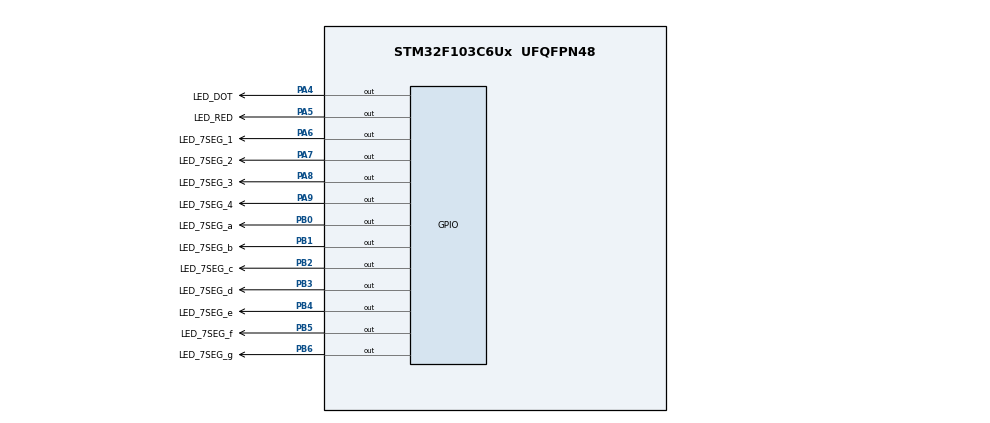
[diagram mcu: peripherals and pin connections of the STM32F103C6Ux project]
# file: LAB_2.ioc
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Mcu.Family=STM32F1
Mcu.Name=STM32F103C6Ux
Mcu.Package=UFQFPN48
NVIC.PriorityGroup=NVIC_PRIORITYGROUP_4
NVIC.TIM2_IRQn=true\:0\:0\:false\:false\:true\:true\:true
PA4.GPIO_Label=LED_DOT
PA4.Signal=GPIO_Output
PA5.GPIO_Label=LED_RED
PA5.Signal=GPIO_Output
PA6.GPIO_Label=LED_7SEG_1
PA6.Signal=GPIO_Output
PA7.GPIO_Label=LED_7SEG_2
PA7.Signal=GPIO_Output
PA8.GPIO_Label=LED_7SEG_3
PA8.Signal=GPIO_Output
PA9.GPIO_Label=LED_7SEG_4
PA9.Signal=GPIO_Output
PB0.GPIO_Label=LED_7SEG_a
PB0.Signal=GPIO_Output
PB1.GPIO_Label=LED_7SEG_b
PB1.Signal=GPIO_Output
PB2.GPIO_Label=LED_7SEG_c
PB2.Signal=GPIO_Output
PB3.GPIO_Label=LED_7SEG_d
PB3.Signal=GPIO_Output
PB4.GPIO_Label=LED_7SEG_e
PB4.Signal=GPIO_Output
PB5.GPIO_Label=LED_7SEG_f
PB5.Signal=GPIO_Output
PB6.GPIO_Label=LED_7SEG_g
PB6.Signal=GPIO_Output
ProjectManager.HeapSize=0x200
ProjectManager.StackSize=0x400
ProjectManager.TargetToolchain=STM32CubeIDE
RCC.APB1Freq_Value=8000000
RCC.APB2Freq_Value=8000000
TIM2.Period=9
TIM2.Prescaler=7999
VP_SYS_VS_ND.Mode=No_Debug
VP_TIM2_VS_ClockSourceINT.Mode=Internal
board=custom

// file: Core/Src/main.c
/* USER CODE BEGIN Header */
/**
  ******************************************************************************
  * @file           : main.c
  * @brief          : Main program body
  ******************************************************************************
  * @attention
  *
  * <h2><center>&copy; Copyright (c) 2025 STMicroelectronics.
  * All rights reserved.</center></h2>
  *
  * This software component is licensed by ST under BSD 3-Clause license,
  * the "License"; You may not use this file except in compliance with the
  * License. You may obtain a copy of the License at:
  *                        opensource.org/licenses/BSD-3-Clause
  *
  ******************************************************************************
  */
/* USER CODE END Header */
#include "main.h"

/* USER CODE BEGIN Includes */
#include "software_timer.h"
/* USER CODE END Includes */

TIM_HandleTypeDef htim2;

/* USER CODE BEGIN PV */
int hour = 15, minute = 8, second = 55;
/* USER CODE END PV */

void SystemClock_Config(void);
static void MX_TIM2_Init(void);
static void MX_GPIO_Init(void);

int main(void)
{

  /* MCU Configuration--------------------------------------------------------*/

  /* Reset of all peripherals, Initializes the Flash interface and the Systick. */
  HAL_Init();

  /* Configure the system clock */
  SystemClock_Config();

  /* Initialize all configured peripherals */
  MX_TIM2_Init();
  MX_GPIO_Init();
  /* USER CODE BEGIN 2 */
  HAL_TIM_Base_Start_IT(&htim2);
  HAL_GPIO_WritePin(LED_7SEG_1_GPIO_Port, LED_7SEG_1_Pin, SET);
  HAL_GPIO_WritePin(LED_7SEG_2_GPIO_Port, LED_7SEG_2_Pin, SET);
  HAL_GPIO_WritePin(LED_7SEG_3_GPIO_Port, LED_7SEG_3_Pin, SET);
  HAL_GPIO_WritePin(LED_7SEG_4_GPIO_Port, LED_7SEG_4_Pin, SET);

  /* USER CODE END 2 */

  /* Infinite loop */
  /* USER CODE BEGIN WHILE */
  setTimer0(100);//toggle led per second
  setTimer1(100);//toggle dot per second
  setTimer2(10);//digital clock set timer
  while (1)
  {
	  //toggle led red per second
	  if(timer0_flag == 1)
	  {
		  setTimer0(100);
		  HAL_GPIO_TogglePin(LED_RED_GPIO_Port, LED_RED_Pin);
	  }
	  //toggle dot per second
	  if(timer1_flag == 1)
	  {
		  setTimer1(100);
		  HAL_GPIO_TogglePin(LED_DOT_GPIO_Port, LED_DOT_Pin);
	  }
	  //digital clock, update h, m, s
	  if(timer2_flag == 1)
	  {
		  setTimer2(100);
		  second++;
		  if(second >= 60)
		  {
			  second = 0;
			  minute++;
		  }
		  if(minute >= 60)
		  {
			  minute = 0;
			  hour++;
		  }
		  if(hour >= 24)
		  {
			  hour = 0;
		  }
		  updateClockBuffer();
	  }

    /* USER CODE END WHILE */

  }
}

void SystemClock_Config(void)
{
  RCC_OscInitTypeDef RCC_OscInitStruct = {0};
  RCC_ClkInitTypeDef RCC_ClkInitStruct = {0};

  /** Initializes the RCC Oscillators according to the specified parameters
  * in the RCC_OscInitTypeDef structure.
  */
  RCC_OscInitStruct.OscillatorType = RCC_OSCILLATORTYPE_HSI;
  RCC_OscInitStruct.HSIState = RCC_HSI_ON;
  RCC_OscInitStruct.HSICalibrationValue = RCC_HSICALIBRATION_DEFAULT;
  RCC_OscInitStruct.PLL.PLLState = RCC_PLL_NONE;
  if (HAL_RCC_OscConfig(&RCC_OscInitStruct) != HAL_OK)
  {
    Error_Handler();
  }
  /** Initializes the CPU, AHB and APB buses clocks
  */
  RCC_ClkInitStruct.ClockType = RCC_CLOCKTYPE_HCLK|RCC_CLOCKTYPE_SYSCLK
                              |RCC_CLOCKTYPE_PCLK1|RCC_CLOCKTYPE_PCLK2;
  RCC_ClkInitStruct.SYSCLKSource = RCC_SYSCLKSOURCE_HSI;
  RCC_ClkInitStruct.AHBCLKDivider = RCC_SYSCLK_DIV1;
  RCC_ClkInitStruct.APB1CLKDivider = RCC_HCLK_DIV1;
  RCC_ClkInitStruct.APB2CLKDivider = RCC_HCLK_DIV1;

  if (HAL_RCC_ClockConfig(&RCC_ClkInitStruct, FLASH_LATENCY_0) != HAL_OK)
  {
    Error_Handler();
  }
}

static void MX_TIM2_Init(void)
{

  TIM_ClockConfigTypeDef sClockSourceConfig = {0};
  TIM_MasterConfigTypeDef sMasterConfig = {0};

  htim2.Instance = TIM2;
  htim2.Init.Prescaler = 7999;
  htim2.Init.CounterMode = TIM_COUNTERMODE_UP;
  htim2.Init.Period = 9;
  htim2.Init.ClockDivision = TIM_CLOCKDIVISION_DIV1;
  htim2.Init.AutoReloadPreload = TIM_AUTORELOAD_PRELOAD_DISABLE;
  if (HAL_TIM_Base_Init(&htim2) != HAL_OK)
  {
    Error_Handler();
  }
  sClockSourceConfig.ClockSource = TIM_CLOCKSOURCE_INTERNAL;
  if (HAL_TIM_ConfigClockSource(&htim2, &sClockSourceConfig) != HAL_OK)
  {
    Error_Handler();
  }
  sMasterConfig.MasterOutputTrigger = TIM_TRGO_RESET;
  sMasterConfig.MasterSlaveMode = TIM_MASTERSLAVEMODE_DISABLE;
  if (HAL_TIMEx_MasterConfigSynchronization(&htim2, &sMasterConfig) != HAL_OK)
  {
    Error_Handler();
  }

}

static void MX_GPIO_Init(void)
{
  GPIO_InitTypeDef GPIO_InitStruct = {0};

  /* GPIO Ports Clock Enable */
  __HAL_RCC_GPIOA_CLK_ENABLE();
  __HAL_RCC_GPIOB_CLK_ENABLE();

  /*Configure GPIO pin Output Level */
  HAL_GPIO_WritePin(GPIOA, LED_DOT_Pin|LED_RED_Pin|LED_7SEG_1_Pin|LED_7SEG_2_Pin
                          |LED_7SEG_3_Pin|LED_7SEG_4_Pin, GPIO_PIN_RESET);

  /*Configure GPIO pin Output Level */
  HAL_GPIO_WritePin(GPIOB, LED_7SEG_a_Pin|LED_7SEG_b_Pin|LED_7SEG_c_Pin|LED_7SEG_d_Pin
                          |LED_7SEG_e_Pin|LED_7SEG_f_Pin|LED_7SEG_g_Pin, GPIO_PIN_RESET);

  /*Configure GPIO pins : LED_DOT_Pin LED_RED_Pin LED_7SEG_1_Pin LED_7SEG_2_Pin
                           LED_7SEG_3_Pin LED_7SEG_4_Pin */
  GPIO_InitStruct.Pin = LED_DOT_Pin|LED_RED_Pin|LED_7SEG_1_Pin|LED_7SEG_2_Pin
                          |LED_7SEG_3_Pin|LED_7SEG_4_Pin;
  GPIO_InitStruct.Mode = GPIO_MODE_OUTPUT_PP;
  GPIO_InitStruct.Pull = GPIO_NOPULL;
  GPIO_InitStruct.Speed = GPIO_SPEED_FREQ_LOW;
  HAL_GPIO_Init(GPIOA, &GPIO_InitStruct);

  /*Configure GPIO pins : LED_7SEG_a_Pin LED_7SEG_b_Pin LED_7SEG_c_Pin LED_7SEG_d_Pin
                           LED_7SEG_e_Pin LED_7SEG_f_Pin LED_7SEG_g_Pin */
  GPIO_InitStruct.Pin = LED_7SEG_a_Pin|LED_7SEG_b_Pin|LED_7SEG_c_Pin|LED_7SEG_d_Pin
                          |LED_7SEG_e_Pin|LED_7SEG_f_Pin|LED_7SEG_g_Pin;
  GPIO_InitStruct.Mode = GPIO_MODE_OUTPUT_PP;
  GPIO_InitStruct.Pull = GPIO_NOPULL;
  GPIO_InitStruct.Speed = GPIO_SPEED_FREQ_LOW;
  HAL_GPIO_Init(GPIOB, &GPIO_InitStruct);

}

/* USER CODE BEGIN 4 */

int counter3 = 50;//update 7SEG counter

int index_led_buffer = 0;
void HAL_TIM_PeriodElapsedCallback(TIM_HandleTypeDef *htim){
	timerRun();
	//update led_buffer
	if(counter3 > 0)
	{
		counter3--;
		if(counter3 <= 0)
		{
			counter3 = 50;
			update7SEG(index_led_buffer);
			index_led_buffer++;
			if(index_led_buffer >= 4) index_led_buffer = 0;
		}
	}
}
void clear7SEG(){
	HAL_GPIO_WritePin(LED_7SEG_a_GPIO_Port, LED_7SEG_a_Pin, SET);
	HAL_GPIO_WritePin(LED_7SEG_a_GPIO_Port, LED_7SEG_a_Pin, SET);
	HAL_GPIO_WritePin(LED_7SEG_b_GPIO_Port, LED_7SEG_b_Pin, SET);
	HAL_GPIO_WritePin(LED_7SEG_c_GPIO_Port, LED_7SEG_c_Pin, SET);
	HAL_GPIO_WritePin(LED_7SEG_d_GPIO_Port, LED_7SEG_d_Pin, SET);
	HAL_GPIO_WritePin(LED_7SEG_e_GPIO_Port, LED_7SEG_e_Pin, SET);
	HAL_GPIO_WritePin(LED_7SEG_f_GPIO_Port, LED_7SEG_f_Pin, SET);
	HAL_GPIO_WritePin(LED_7SEG_g_GPIO_Port, LED_7SEG_g_Pin, SET);
}
void display7SEG(int num){
	switch (num)
	{
	case 0:
		HAL_GPIO_WritePin(LED_7SEG_a_GPIO_Port, LED_7SEG_a_Pin, RESET);
		HAL_GPIO_WritePin(LED_7SEG_b_GPIO_Port, LED_7SEG_b_Pin, RESET);
		HAL_GPIO_WritePin(LED_7SEG_c_GPIO_Port, LED_7SEG_c_Pin, RESET);
		HAL_GPIO_WritePin(LED_7SEG_d_GPIO_Port, LED_7SEG_d_Pin, RESET);
		HAL_GPIO_WritePin(LED_7SEG_e_GPIO_Port, LED_7SEG_e_Pin, RESET);
		HAL_GPIO_WritePin(LED_7SEG_f_GPIO_Port, LED_7SEG_f_Pin, RESET);
		HAL_GPIO_WritePin(LED_7SEG_g_GPIO_Port, LED_7SEG_g_Pin, SET);
		break;
	case 1:
		HAL_GPIO_WritePin(LED_7SEG_a_GPIO_Port, LED_7SEG_a_Pin, SET);
		HAL_GPIO_WritePin(LED_7SEG_b_GPIO_Port, LED_7SEG_b_Pin, RESET);
		HAL_GPIO_WritePin(LED_7SEG_c_GPIO_Port, LED_7SEG_c_Pin, RESET);
		HAL_GPIO_WritePin(LED_7SEG_d_GPIO_Port, LED_7SEG_d_Pin, SET);
		HAL_GPIO_WritePin(LED_7SEG_e_GPIO_Port, LED_7SEG_e_Pin, SET);
		HAL_GPIO_WritePin(LED_7SEG_f_GPIO_Port, LED_7SEG_f_Pin, SET);
		HAL_GPIO_WritePin(LED_7SEG_g_GPIO_Port, LED_7SEG_g_Pin, SET);
		break;
	case 2:
		HAL_GPIO_WritePin(LED_7SEG_a_GPIO_Port, LED_7SEG_a_Pin, RESET);
		HAL_GPIO_WritePin(LED_7SEG_b_GPIO_Port, LED_7SEG_b_Pin, RESET);
		HAL_GPIO_WritePin(LED_7SEG_c_GPIO_Port, LED_7SEG_c_Pin, SET);
		HAL_GPIO_WritePin(LED_7SEG_d_GPIO_Port, LED_7SEG_d_Pin, RESET);
		HAL_GPIO_WritePin(LED_7SEG_e_GPIO_Port, LED_7SEG_e_Pin, RESET);
		HAL_GPIO_WritePin(LED_7SEG_f_GPIO_Port, LED_7SEG_f_Pin, SET);
		HAL_GPIO_WritePin(LED_7SEG_g_GPIO_Port, LED_7SEG_g_Pin, RESET);
		break;
	case 3:
		HAL_GPIO_WritePin(LED_7SEG_a_GPIO_Port, LED_7SEG_a_Pin, RESET);
		HAL_GPIO_WritePin(LED_7SEG_b_GPIO_Port, LED_7SEG_b_Pin, RESET);
		HAL_GPIO_WritePin(LED_7SEG_c_GPIO_Port, LED_7SEG_c_Pin, RESET);
		HAL_GPIO_WritePin(LED_7SEG_d_GPIO_Port, LED_7SEG_d_Pin, RESET);
		HAL_GPIO_WritePin(LED_7SEG_e_GPIO_Port, LED_7SEG_e_Pin, SET);
		HAL_GPIO_WritePin(LED_7SEG_f_GPIO_Port, LED_7SEG_f_Pin, SET);
		HAL_GPIO_WritePin(LED_7SEG_g_GPIO_Port, LED_7SEG_g_Pin, RESET);
		break;
	case 4:
		HAL_GPIO_WritePin(LED_7SEG_a_GPIO_Port, LED_7SEG_a_Pin, SET);
		HAL_GPIO_WritePin(LED_7SEG_b_GPIO_Port, LED_7SEG_b_Pin, RESET);
		HAL_GPIO_WritePin(LED_7SEG_c_GPIO_Port, LED_7SEG_c_Pin, RESET);
		HAL_GPIO_WritePin(LED_7SEG_d_GPIO_Port, LED_7SEG_d_Pin, SET);
		HAL_GPIO_WritePin(LED_7SEG_e_GPIO_Port, LED_7SEG_e_Pin, SET);
		HAL_GPIO_WritePin(LED_7SEG_f_GPIO_Port, LED_7SEG_f_Pin, RESET);
		HAL_GPIO_WritePin(LED_7SEG_g_GPIO_Port, LED_7SEG_g_Pin, RESET);
		break;
	case 5:
		HAL_GPIO_WritePin(LED_7SEG_a_GPIO_Port, LED_7SEG_a_Pin, RESET);
		HAL_GPIO_WritePin(LED_7SEG_b_GPIO_Port, LED_7SEG_b_Pin, SET);
		HAL_GPIO_WritePin(LED_7SEG_c_GPIO_Port, LED_7SEG_c_Pin, RESET);
		HAL_GPIO_WritePin(LED_7SEG_d_GPIO_Port, LED_7SEG_d_Pin, RESET);
		HAL_GPIO_WritePin(LED_7SEG_e_GPIO_Port, LED_7SEG_e_Pin, SET);
		HAL_GPIO_WritePin(LED_7SEG_f_GPIO_Port, LED_7SEG_f_Pin, RESET);
		HAL_GPIO_WritePin(LED_7SEG_g_GPIO_Port, LED_7SEG_g_Pin, RESET);
		break;
	case 6:
		HAL_GPIO_WritePin(LED_7SEG_a_GPIO_Port, LED_7SEG_a_Pin, RESET);
		HAL_GPIO_WritePin(LED_7SEG_b_GPIO_Port, LED_7SEG_b_Pin, SET);
		HAL_GPIO_WritePin(LED_7SEG_c_GPIO_Port, LED_7SEG_c_Pin, RESET);
		HAL_GPIO_WritePin(LED_7SEG_d_GPIO_Port, LED_7SEG_d_Pin, RESET);
		HAL_GPIO_WritePin(LED_7SEG_e_GPIO_Port, LED_7SEG_e_Pin, RESET);
		HAL_GPIO_WritePin(LED_7SEG_f_GPIO_Port, LED_7SEG_f_Pin, RESET);
		HAL_GPIO_WritePin(LED_7SEG_g_GPIO_Port, LED_7SEG_g_Pin, RESET);
		break;
	case 7:
		HAL_GPIO_WritePin(LED_7SEG_a_GPIO_Port, LED_7SEG_a_Pin, RESET);
		HAL_GPIO_WritePin(LED_7SEG_b_GPIO_Port, LED_7SEG_b_Pin, RESET);
		HAL_GPIO_WritePin(LED_7SEG_c_GPIO_Port, LED_7SEG_c_Pin, RESET);
		HAL_GPIO_WritePin(LED_7SEG_d_GPIO_Port, LED_7SEG_d_Pin, SET);
		HAL_GPIO_WritePin(LED_7SEG_e_GPIO_Port, LED_7SEG_e_Pin, SET);
		HAL_GPIO_WritePin(LED_7SEG_f_GPIO_Port, LED_7SEG_f_Pin, SET);
		HAL_GPIO_WritePin(LED_7SEG_g_GPIO_Port, LED_7SEG_g_Pin, SET);
		break;
	case 8:
		HAL_GPIO_WritePin(LED_7SEG_a_GPIO_Port, LED_7SEG_a_Pin, RESET);
		HAL_GPIO_WritePin(LED_7SEG_b_GPIO_Port, LED_7SEG_b_Pin, RESET);
		HAL_GPIO_WritePin(LED_7SEG_c_GPIO_Port, LED_7SEG_c_Pin, RESET);
		HAL_GPIO_WritePin(LED_7SEG_d_GPIO_Port, LED_7SEG_d_Pin, RESET);
		HAL_GPIO_WritePin(LED_7SEG_e_GPIO_Port, LED_7SEG_e_Pin, RESET);
		HAL_GPIO_WritePin(LED_7SEG_f_GPIO_Port, LED_7SEG_f_Pin, RESET);
		HAL_GPIO_WritePin(LED_7SEG_g_GPIO_Port, LED_7SEG_g_Pin, RESET);
		break;
	case 9:
		HAL_GPIO_WritePin(LED_7SEG_a_GPIO_Port, LED_7SEG_a_Pin, RESET);
		HAL_GPIO_WritePin(LED_7SEG_b_GPIO_Port, LED_7SEG_b_Pin, RESET);
		HAL_GPIO_WritePin(LED_7SEG_c_GPIO_Port, LED_7SEG_c_Pin, RESET);
		HAL_GPIO_WritePin(LED_7SEG_d_GPIO_Port, LED_7SEG_d_Pin, RESET);
		HAL_GPIO_WritePin(LED_7SEG_e_GPIO_Port, LED_7SEG_e_Pin, SET);
		HAL_GPIO_WritePin(LED_7SEG_f_GPIO_Port, LED_7SEG_f_Pin, RESET);
		HAL_GPIO_WritePin(LED_7SEG_g_GPIO_Port, LED_7SEG_g_Pin, RESET);
		break;
	default:
		break;
	}
}
const int MAX_LED = 4;
int index_led = 0;
int led_buffer[4] = {1, 2, 3, 4};
void update7SEG(int index){
	switch (index){
	case 0:
		HAL_GPIO_WritePin(LED_7SEG_1_GPIO_Port, LED_7SEG_1_Pin, RESET);
		HAL_GPIO_WritePin(LED_7SEG_2_GPIO_Port, LED_7SEG_2_Pin, SET);
		HAL_GPIO_WritePin(LED_7SEG_3_GPIO_Port, LED_7SEG_3_Pin, SET);
		HAL_GPIO_WritePin(LED_7SEG_4_GPIO_Port, LED_7SEG_4_Pin, SET);
		display7SEG(led_buffer[index]);
		break;
	case 1:
		HAL_GPIO_WritePin(LED_7SEG_1_GPIO_Port, LED_7SEG_1_Pin, SET);
		HAL_GPIO_WritePin(LED_7SEG_2_GPIO_Port, LED_7SEG_2_Pin, RESET);
		HAL_GPIO_WritePin(LED_7SEG_3_GPIO_Port, LED_7SEG_3_Pin, SET);
		HAL_GPIO_WritePin(LED_7SEG_4_GPIO_Port, LED_7SEG_4_Pin, SET);
		display7SEG(led_buffer[index]);
		break;
	case 2:
		HAL_GPIO_WritePin(LED_7SEG_1_GPIO_Port, LED_7SEG_1_Pin, SET);
		HAL_GPIO_WritePin(LED_7SEG_2_GPIO_Port, LED_7SEG_2_Pin, SET);
		HAL_GPIO_WritePin(LED_7SEG_3_GPIO_Port, LED_7SEG_3_Pin, RESET);
		HAL_GPIO_WritePin(LED_7SEG_4_GPIO_Port, LED_7SEG_4_Pin, SET);
		display7SEG(led_buffer[index]);
		break;
	case 3:
		HAL_GPIO_WritePin(LED_7SEG_1_GPIO_Port, LED_7SEG_1_Pin, SET);
		HAL_GPIO_WritePin(LED_7SEG_2_GPIO_Port, LED_7SEG_2_Pin, SET);
		HAL_GPIO_WritePin(LED_7SEG_3_GPIO_Port, LED_7SEG_3_Pin, SET);
		HAL_GPIO_WritePin(LED_7SEG_4_GPIO_Port, LED_7SEG_4_Pin, RESET);
		display7SEG(led_buffer[index]);
		break;
	default:
		clear7SEG();
		break;
	}
}
void updateClockBuffer(){
	//hour
	led_buffer[0] = hour / 10;
	led_buffer[1] = hour % 10;

	//minute
	led_buffer[2] = minute / 10;
	led_buffer[3] = minute % 10;
}
/* USER CODE END 4 */

void Error_Handler(void)
{
  __disable_irq();
  while (1)
  {
  }
}

/************************ (C) COPYRIGHT STMicroelectronics *****END OF FILE****/
